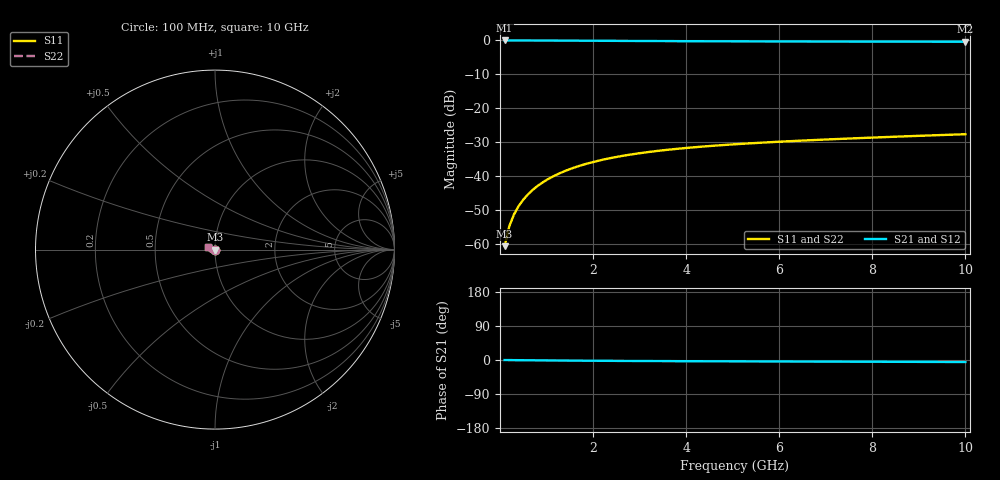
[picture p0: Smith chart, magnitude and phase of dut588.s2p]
! Touchstone file exported from HFSS 2024.1.0
!  File:  C:/UserFiles/LocalFiles/RDL_TSV_Batchsim/temp_TSV1_588_1779709858.aedt
!  Generated:  07:57:28 PM May 25, 2026
!  Design:  TSV1
!  Project:  temp_TSV1_588_1779709858
!  Setup:  Setup1
!  Solution:  Sweep
! Variables:
!  dtsv = 7.75um
!  hbump = 3um
!  htsv = 81.23um
!  lrdl = 252.1521522um
!  p = 40
!  p1 = 51.61um
!  t = 500um
!  trdl = 3um
!  wrdl = 24.89489489um
# GHz S MA R 50.000000
! Terminal data exported
! Port[1] = TSV22_T1
! Port[2] = TSV22_T2
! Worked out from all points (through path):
!   100 points, 100 MHz to 10 GHz, reference 50 ohm
!   highest |S21| = 0.00 dB at 100 MHz (marker M1); lowest = -0.4 dB at 10 GHz (marker M2)
!   lowest |S11| = -60.7 dB at 100 MHz (marker M3), VSWR 1.00, Z = 50 - j0.0896 ohm
!   |S11| at or under -10 dB: start of sweep to end of sweep
!   |S22| runs from -60.7 to -27.7 dB; largest |S21 - S12| = 5.3e-15
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0.1  0.0009197 -76.7  0.9997 -0.1  0.9997 -0.1  0.0009197 -76.7
! Gamma 0 0 0 0
! Port Impedance 50 0 50 0
0.2  0.001804 -86.2  0.9996 -0.2  0.9996 -0.2  0.001804 -86.2
0.3  0.002693 -90.8  0.9994 -0.3  0.9994 -0.3  0.002693 -90.8
0.4  0.003579 -94.1  0.9992 -0.5  0.9992 -0.5  0.003579 -94.1
0.5  0.004459 -96.9  0.9989 -0.6  0.9989 -0.6  0.004459 -96.9
0.6  0.005331 -99.4  0.9986 -0.7  0.9986 -0.7  0.005331 -99.4
0.7  0.006193 -101.7  0.9982 -0.8  0.9982 -0.8  0.006193 -101.7
0.8  0.007044 -104.0  0.9977 -0.9  0.9977 -0.9  0.007044 -104.0
0.9  0.007882 -106.1  0.9972 -1.0  0.9972 -1.0  0.007882 -106.1
1.1  0.009517 -110.3  0.9961 -1.2  0.9961 -1.2  0.009517 -110.3
1.4  0.01185 -116.2  0.9942 -1.5  0.9942 -1.5  0.01185 -116.2
1.6  0.01332 -119.9  0.9927 -1.7  0.9927 -1.7  0.01332 -119.9
1.8  0.01472 -123.5  0.9912 -1.8  0.9912 -1.8  0.01472 -123.5
2.1  0.01668 -128.6  0.9889 -2.1  0.9889 -2.1  0.01668 -128.6
2.5  0.01905 -135.1  0.9858 -2.3  0.9858 -2.3  0.01905 -135.1
2.9  0.02116 -141.0  0.9828 -2.6  0.9828 -2.6  0.02116 -141.0
3.4  0.02348 -147.8  0.9793 -2.8  0.9793 -2.8  0.02348 -147.8
4.2  0.0266 -157.5  0.9744 -3.2  0.9744 -3.2  0.0266 -157.5
5.1  0.0295 -166.9  0.97 -3.6  0.97 -3.6  0.0295 -166.9
6.7  0.03377 179.4  0.9643 -4.2  0.9643 -4.2  0.03377 179.4
8.4  0.03774 167.8  0.9603 -4.8  0.9603 -4.8  0.03774 167.8
10  0.04132 158.8  0.9577 -5.3  0.9577 -5.3  0.04132 158.8
